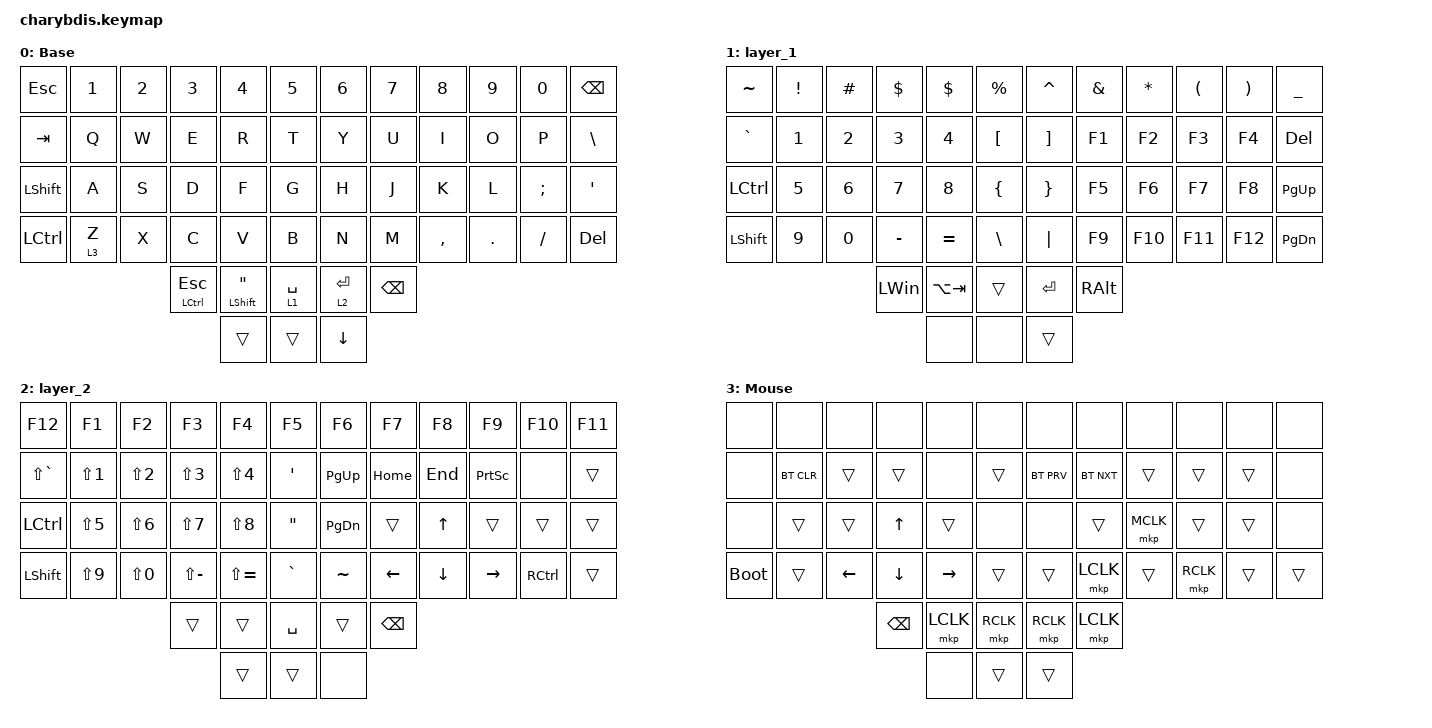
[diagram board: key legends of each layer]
#include <behaviors.dtsi>
#include <dt-bindings/zmk/bt.h>
#include <dt-bindings/zmk/keys.h>
#include <dt-bindings/zmk/mouse.h>

&lt {
    tapping-term-ms = <200>;
    flavor = "balanced";
    quick-tap-ms = <150>;
};

/ {
    combos {
        compatible = "zmk,combos";

        escc {
            bindings = <&kp ESC>;
            key-positions = <17 18>;
            layers = <0>;
        };
    };

    keymap {
        compatible = "zmk,keymap";

        Base {
            bindings = <
&kp ESC         &kp N1   &kp N2  &kp N3                &kp N4                        &kp N5         &kp N6          &kp N7         &kp N8     &kp N9   &kp N0     &kp BSPC
&kp TAB         &kp Q    &kp W   &kp E                 &kp R                         &kp T          &kp Y           &kp U          &kp I      &kp O    &kp P      &kp BACKSLASH
&kp LEFT_SHIFT  &kp A    &kp S   &kp D                 &kp F                         &kp G          &kp H           &kp J          &kp K      &kp L    &kp SEMI   &kp APOS
&kp LCTRL       &lt 3 Z  &kp X   &kp C                 &kp V                         &kp B          &kp N           &kp M          &kp COMMA  &kp DOT  &kp SLASH  &kp DELETE
                                 &mt LEFT_CONTROL ESC  &mt LEFT_SHIFT DOUBLE_QUOTES  &lt 1 SPACE    &lt 2 ENTER     &kp BACKSPACE
                                                       &trans                        &trans         &kp DOWN_ARROW
            >;

            trackball-bindings = <&tmv_coarse>;
        };

        layer_1 {
            bindings = <
&kp TILDE         &kp EXCLAMATION  &kp HASH      &kp DOLLAR    &kp DOLLAR    &kp PERCENT       &kp CARET        &kp AMPERSAND  &kp ASTERISK  &kp LEFT_PARENTHESIS  &kp RIGHT_PARENTHESIS  &kp UNDERSCORE
&kp GRAVE         &kp NUMBER_1     &kp NUMBER_2  &kp NUMBER_3  &kp NUMBER_4  &kp LBKT          &kp RBKT         &kp F1         &kp F2        &kp F3                &kp F4                 &kp DEL
&kp LEFT_CONTROL  &kp NUMBER_5     &kp NUMBER_6  &kp NUMBER_7  &kp NUMBER_8  &kp LEFT_BRACE    &kp RIGHT_BRACE  &kp F5         &kp F6        &kp F7                &kp F8                 &kp PAGE_UP
&kp LSHFT         &kp NUMBER_9     &kp NUMBER_0  &kp MINUS     &kp EQUAL     &kp BACKSLASH     &kp PIPE         &kp F9         &kp F10       &kp F11               &kp F12                &kp PAGE_DOWN
                                                 &kp LEFT_WIN  &kp LA(TAB)   &trans            &kp ENTER        &kp RIGHT_ALT
                                                               &none         &none             &trans
            >;
        };

        layer_2 {
            bindings = <
&kp F12           &kp F1      &kp F2      &kp F3         &kp F4         &kp F5               &kp F6         &kp F7         &kp F8    &kp F9           &kp F10            &kp F11
&kp LS(GRAVE)     &kp LS(N1)  &kp LS(N2)  &kp LS(N3)     &kp LS(N4)     &kp SINGLE_QUOTE     &kp PAGE_UP    &kp HOME       &kp END   &kp PRINTSCREEN  &none              &trans
&kp LEFT_CONTROL  &kp LS(N5)  &kp LS(N6)  &kp LS(N7)     &kp LS(N8)     &kp DOUBLE_QUOTES    &kp PAGE_DOWN  &trans         &kp UP    &trans           &trans             &trans
&kp LEFT_SHIFT    &kp LS(N9)  &kp LS(N0)  &kp LS(MINUS)  &kp LS(EQUAL)  &kp GRAVE            &kp TILDE      &kp LEFT       &kp DOWN  &kp RIGHT        &kp RIGHT_CONTROL  &trans
                                          &trans         &trans         &kp SPACE            &trans         &kp BACKSPACE
                                                         &trans         &trans               &none
            >;
        };

        Mouse {
            bindings = <
&none        &none       &none     &none          &none      &none        &none       &none       &none      &none      &none   &none
&none        &bt BT_CLR  &trans    &trans         &none      &trans       &bt BT_PRV  &bt BT_NXT  &trans     &trans     &trans  &none
&none        &trans      &trans    &kp UP         &trans     &none        &none       &trans      &mkp MCLK  &trans     &trans  &none
&bootloader  &trans      &kp LEFT  &kp DOWN       &kp RIGHT  &trans       &trans      &mkp LCLK   &trans     &mkp RCLK  &trans  &trans
                                   &kp BACKSPACE  &mkp LCLK  &mkp RCLK    &mkp RCLK   &mkp LCLK
                                                  &none      &trans       &trans
            >;
        };
    };
};
